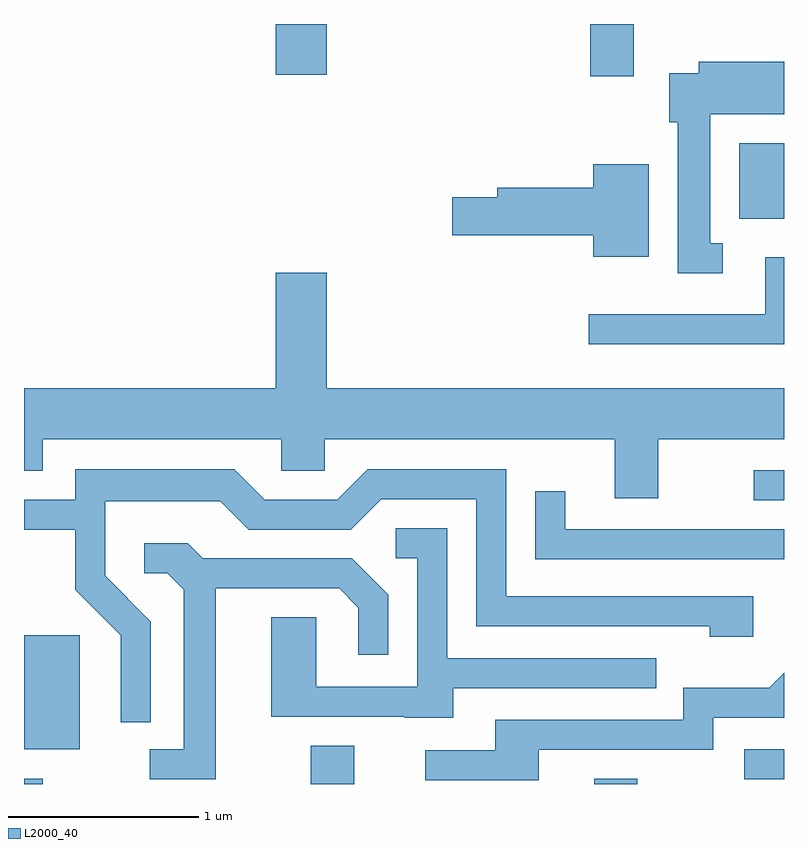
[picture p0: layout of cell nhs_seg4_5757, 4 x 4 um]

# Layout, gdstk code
import gdstk
lib = gdstk.Library(unit=1e-6, precision=1e-09)
def R(c, l, rs):  # rectangles x0, y0, x1, y1
    for r in rs: c.add(gdstk.rectangle(r[:2], r[2:], *l))
def P(c, l, *ps):  # polygons
    for p in ps: c.add(gdstk.Polygon(p, *l))
L2000_40 = (2000, 40)

nhs_seg4_5757 = lib.new_cell('nhs_seg4_5757')
R(nhs_seg4_5757, L2000_40, [(353.611,1343.982,353.709,1344.009), (355.121,1343.982,355.349,1344.184), (356.611,1343.982,356.839,1344.009), (357.403,1344.006,357.611,1344.164), (353.611,1344.166,353.904,1344.764), (357.453,1345.476,357.611,1345.634), (357.376,1346.956,357.611,1347.354), (356.591,1347.706,356.819,1347.982), (354.936,1347.716,355.204,1347.982)])
P(nhs_seg4_5757, L2000_40, [(357.288,1346.829),(357.224,1346.829),(357.224,1347.506),(357.611,1347.506),(357.611,1347.784),(357.161,1347.784),(357.161,1347.724),(357.006,1347.724),(357.006,1347.466),(357.051,1347.466),(357.051,1346.671),(357.288,1346.671)],
  [(356.899,1347.244),(356.606,1347.244),(356.606,1347.119),(356.101,1347.119),(356.101,1347.069),(355.866,1347.069),(355.866,1346.871),(356.606,1346.871),(356.606,1346.756),(356.899,1346.756)],
  [(357.611,1346.754),(357.511,1346.754),(357.511,1346.454),(356.583,1346.454),(356.583,1346.296),(357.611,1346.296)],
  [(353.611,1345.631),(353.709,1345.631),(353.709,1345.796),(354.966,1345.796),(354.966,1345.631),(355.194,1345.631),(355.194,1345.796),(356.721,1345.796),(356.721,1345.486),(356.949,1345.486),(356.949,1345.796),(357.611,1345.796),(357.611,1346.064),(355.204,1346.064),(355.204,1346.674),(354.936,1346.674),(354.936,1346.064),(353.611,1346.064)],
  [(354.279,1344.837),(354.039,1345.077),(354.039,1345.471),(354.644,1345.471),(354.794,1345.321),(355.332,1345.321),(355.492,1345.481),(355.991,1345.481),(355.991,1344.811),(357.221,1344.811),(357.221,1344.756),(357.449,1344.756),(357.449,1344.969),(356.149,1344.969),(356.149,1345.639),(355.419,1345.639),(355.259,1345.479),(354.877,1345.479),(354.717,1345.639),(353.881,1345.639),(353.881,1345.479),(353.611,1345.479),(353.611,1345.321),(353.881,1345.321),(353.881,1345.004),(354.121,1344.764),(354.121,1344.308),(354.279,1344.308)],
  [(357.611,1345.324),(356.459,1345.324),(356.459,1345.523),(356.301,1345.523),(356.301,1345.166),(357.611,1345.166)],
  [(355.869,1344.486),(356.938,1344.486),(356.938,1344.644),(355.839,1344.644),(355.839,1345.329),(355.568,1345.329),(355.568,1345.171),(355.681,1345.171),(355.681,1344.494),(355.149,1344.494),(355.149,1344.859),(354.911,1344.859),(354.911,1344.336),(355.615,1344.336),(355.615,1344.331),(355.869,1344.331)],
  [(354.619,1345.011),(355.269,1345.011),(355.371,1344.909),(355.371,1344.663),(355.529,1344.663),(355.529,1344.977),(355.337,1345.169),(354.552,1345.169),(354.472,1345.249),(354.243,1345.249),(354.243,1345.091),(354.364,1345.091),(354.451,1345.004),(354.451,1344.164),(354.273,1344.164),(354.273,1344.006),(354.619,1344.006)],
  [(356.319,1344.161),(357.239,1344.161),(357.239,1344.331),(357.611,1344.331),(357.611,1344.567),(357.534,1344.489),(357.081,1344.489),(357.081,1344.319),(356.091,1344.319),(356.091,1344.159),(355.723,1344.159),(355.723,1344.001),(356.319,1344.001)])

lib.write_gds('nhs_seg4_5757.gds')
